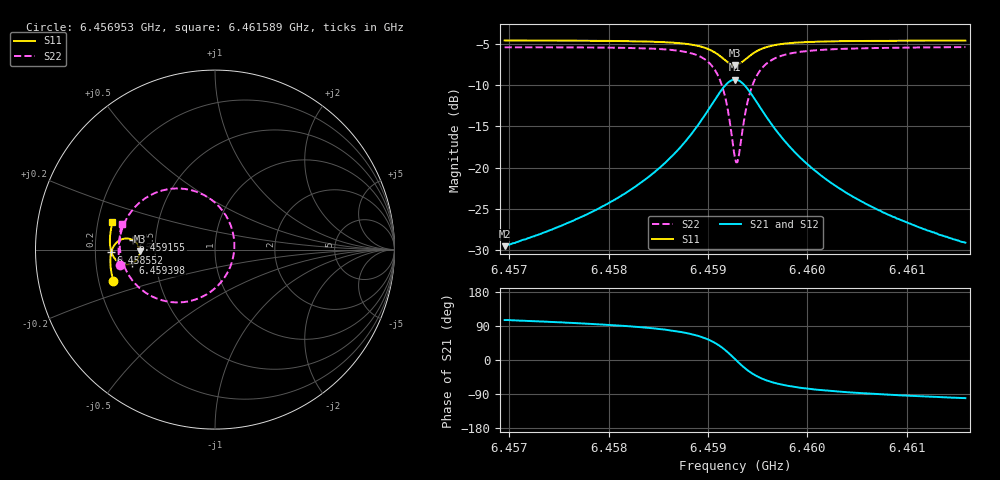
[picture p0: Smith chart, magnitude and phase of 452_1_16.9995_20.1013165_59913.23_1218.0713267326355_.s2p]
#  HZ  S  RI  R  50.00
! Rohde & Schwarz Vector Network Analyzer
! Rohde-Schwarz,ZNB20-2Port,1311601062101988,3.16
! Created: UTC 3/20/2024, 11:12:18 PM
! freq[Hz]  re:S11  im:S11  re:S21  im:S21  re:S12  im:S12  re:S22  im:S22
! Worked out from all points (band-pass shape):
!   401 points, 6.456953 GHz to 6.461589 GHz, reference 50 ohm
!   highest |S21| = -9.30 dB at 6.459271 GHz (marker M1); lowest = -29.6 dB at 6.456953 GHz (marker M2)
!   |S21| within 3 dB of the highest: 6.459039 GHz to 6.459503 GHz (463.6 kHz wide, 0.00718 % of centre)
!   lowest |S11| = -7.5 dB at 6.459271 GHz (marker M3), VSWR 2.45, Z = 20.4 - j0.519 ohm
!   |S11| at or under -10 dB: nowhere
!   |S22| runs from -19.4 to -5.4 dB; largest |S21 - S12| = 0.013
!   S11 on the Smith chart (normalised r, x): 6.456953 GHz: 0.26, -0.14; 6.458552 GHz: 0.27, -0.01; 6.459155 GHz: 0.37, +0.05; 6.459398 GHz: 0.37, -0.07; 6.461589 GHz: 0.26, +0.12
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6.4569528e9  -0.5662 -0.1741  -0.00886 0.0321  -0.00714 0.0321  -0.5313 -0.0869
6.4577294e9  -0.5805 -0.1063  -0.00572 0.05  -0.00321 0.0494  -0.5371 0.00336
6.4581583e9  -0.5835 -0.0635  0.000113 0.0692  0.0034 0.0679  -0.5293 0.0708
6.458506e9  -0.5799 -0.0222  0.0138 0.098  0.0179 0.0952  -0.5044 0.1484
6.4585524e9  -0.5785 -0.0158  0.0173 0.1035  0.0212 0.1003  -0.4982 0.1615
6.458761e9  -0.5663 0.0159  0.0431 0.1348  0.0473 0.1301  -0.4496 0.2328
6.4589117e9  -0.5452 0.0422  0.0853 0.165  0.0888 0.1584  -0.3716 0.2968
6.4590623e9  -0.4993 0.0618  0.1767 0.1839  0.1777 0.1765  -0.2046 0.3407
6.4591551e9  -0.4552 0.0518  0.266 0.1532  0.2663 0.1473  -0.0393 0.2911
6.4592014e9  -0.4341 0.0331  0.3093 0.1106  0.3106 0.1054  0.043 0.2154
6.459271e9  -0.4194 -0.0105  0.3424 0.0146  0.3461 0.00767  0.1077 0.0371
6.4592826e9  -0.4199 -0.0184  0.3423 -0.00311  0.346 -0.0108  0.1075 0.00377
6.4593057e9  -0.4232 -0.034  0.3369 -0.0376  0.3407 -0.0466  0.0966 -0.0616
6.4593985e9  -0.4606 -0.0759  0.2669 -0.1378  0.266 -0.151  -0.0448 -0.2485
6.4594448e9  -0.4833 -0.0826  0.2228 -0.1602  0.219 -0.1729  -0.1331 -0.285
6.4595028e9  -0.5083 -0.0819  0.1738 -0.1694  0.1673 -0.1805  -0.2298 -0.2935
6.4596535e9  -0.5494 -0.0601  0.0912 -0.1532  0.0827 -0.1591  -0.3867 -0.24
6.4598157e9  -0.5695 -0.0326  0.0491 -0.1258  0.0415 -0.1284  -0.462 -0.1692
6.4600476e9  -0.5812 0.00102  0.0221 -0.0964  0.0164 -0.097  -0.5063 -0.0918
6.4604185e9  -0.5858 0.0446  0.00555 -0.0684  0.00163 -0.0681  -0.5282 -0.00867
6.4608241e9  -0.5836 0.085  -0.00153 -0.0513  -0.0042 -0.0507  -0.5316 0.0553
6.4615891e9  -0.5711 0.1527  -0.00644 -0.0344  -0.00816 -0.0334  -0.5201 0.1449
